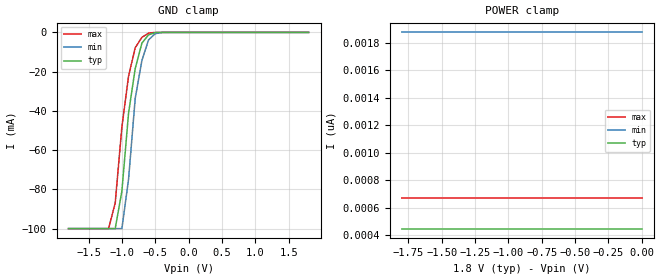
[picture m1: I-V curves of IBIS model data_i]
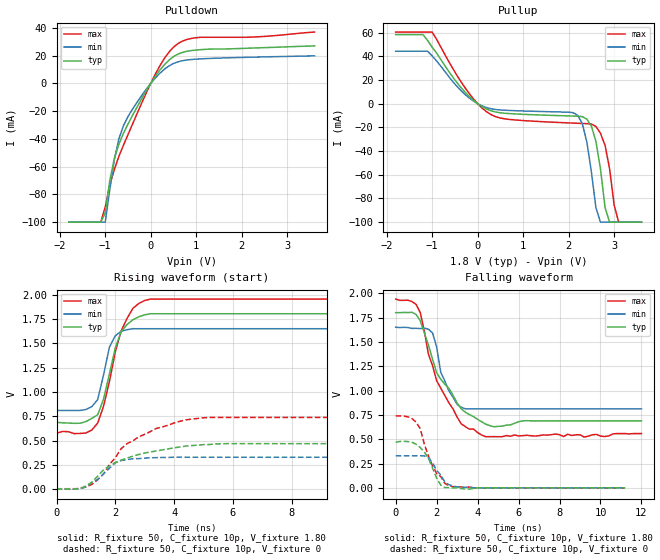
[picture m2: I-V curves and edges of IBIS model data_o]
|   ON Semiconductor Corporation
|   IBIS Model of NL27WZ16DF
|   Dual Buffer
|   SC-88A/ SOT-353/ SC-70 (DF) Package Type
[IBIS Ver]   3.2
[Comment Char]   |_char
[File name]   nl27wz16df_165.ibs
[File Rev]   1.0
[Date]   11/27/02
[Source]
From lab measurements at ON Semiconductor
[Notes]
Created by Duane Mattheisen
Modeling Support Engineer
| This model represents the NL27WZ16DF where 1.65 <= Vcc =< 1.95
[Disclaimer]
ON Semiconductor Corporation hereby grants
the user of this IBIS model a license to use this IBIS
model under the following terms. This license in non-exclusive
and non-transferable. Before using this IBIS model. After reading
the terms and conditions of this license, the user either must accept
these terms, or the IBIS model should be returned to ON within 30 days.
     The user is hereby granted a license to use the
IBIS model. This shall not be construed as a right to sell, or otherwise
profit either by leasing or renting this software.
     The user may modify the IBIS model to suit his specific applications
but rights to derivative works and such modifications shall belong to
ON Semiconductor.
     This IBIS model is provided on an "as is" basis. ON Semiconductor
makes absolutely no warranty with respect to the information contained
herein. By use of this IBIS model, the user assumes full risk as to the
quality and suitability of the model to his particular use, and by using
this model assumes the entire risk. Under all circumstances the user shall
not hold ON Semiconductor liable in any way for the results obtained. ON
Semiconductor reserves the right to make to improve the model for reliability,
function, or design. ON Semiconductor does not convey any license under patent
rights or any other intellectual property rights, including those of third
parties.
ON Semiconductor is not obligated to provide maintenance or support
for the licensed IBIS model.
Cont ON at ATTN:LOGIC APPLICATIONS/IBIS MODEL.
5005 E. McDowell Road, Phoenix AZ 85008
[Copyright]
(c) 2002 ON Semiconductor Corp.
[Component]   NL27WZ16DF
Si_location Pin
Timing_location Pin
[Manufacturer]   ON Semiconductor Corp.
[Package]
|   typ   min   max
R_pkg   0.025   0.021   0.029
L_pkg   1.529nH   1.312nH   1.906nH
C_pkg   0.156pF   0.110pF   0.240pF
[Pin] signal_name   model_name   R_pin   L_pin   C_pin
1   INA1   data_i   0.021   1.511nH   0.144pF
2   GND   GND   0.029   1.906nH   0.240pF
3   INA2   data_i   0.023   1.312nH   0.138pF
4   OUTY2   data_o   0.026   1.541nH   0.150pF
5   VCC   POWER   0.025   1.374nH   0.110pF
6   OUTY1   data_o   0.026   1.541nH   0.150pF
| Models and submodels in the file (2): data_i (Input), data_o (Output)
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[Model]   data_i
Model_type Input
Vinh=1.35
Vinl=0.45
| variable   typ   min   max
C_comp   4.1pf   4.1pf   4.1pf
[Temperature Range] 25   85   -40
[Voltage Range]   1.80   1.65   1.95
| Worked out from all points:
|   GND clamp passes 1 mA (typ) near -0.58 V on its own axis
[GND Clamp]
-1.8V     -99.99mA   -100mA     -100mA
-1.2V     -99.99mA   -100mA     -100mA
-1.1V     -99.99mA   -100mA     -86.96mA
-1V       -80.93mA   -100mA     -48.21mA
-900mV    -41.16mA   -74.87mA   -22.31mA
-800mV    -18.41mA   -33.63mA   -7.807mA
-700mV    -5.487mA   -14.32mA   -2.528mA
-600mV    -1.259mA   -3.81mA    -388uA
-500mV    -134.1uA   -633.5uA   -10.12uA
-400mV    -4.415uA   -49.92uA   -94.34nA
1.8V      445.8pA    1.877nA    670.6pA
[POWER Clamp]
-1.8V     445.8pA    1.877nA    670.6pA
-1.7V     445.8pA    1.877nA    670.6pA
-1.6V     445.8pA    1.877nA    670.6pA
0V        445.8pA    1.877nA    670.6pA
[Model]   data_o
Model_type Output
Polarity Non-Inverting
Vref=0
Vmeas=0.90
Cref=15p
Rref=1M
| variable   typ   min   max
C_comp   5.2pf   5.2pf   5.2pf
[Temperature Range] 25   85   -40
[Voltage Range]   1.80   1.65   1.95
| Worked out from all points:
|   slope of the pulldown table from 0 to 0.27 V, typ, clamps not added: 22 ohm
|   slope of the pullup table from 0 to 0.27 V, typ, clamps not added: 47.8 ohm
|   falling waveform, R_fixture 50, C_fixture 10p, V_fixture 1.80: 20-80 % time 1.48ns typ, 696ps min, 1.38ns max; typ from 1.8 V to 0.69 V
|   falling waveform, R_fixture 50, C_fixture 10p, V_fixture 0: 20-80 % time 650ps typ, 614ps min, 778ps max; typ from 0.47 V to 0.001 V
|   rising waveform, R_fixture 50, C_fixture 10p, V_fixture 1.80: 20-80 % time 571ps typ, 391ps min, 682ps max; typ from 0.69 V to 1.8 V
|   rising waveform, R_fixture 50, C_fixture 10p, V_fixture 0: 20-80 % time 1.77ns typ, 784ps min, 1.6ns max; typ from 0.004 V to 0.47 V
[Pullup]
-1.8V     58.21mA    44.21mA    60.38mA
-1V       47.67mA    40.31mA    60.38mA
300mV     -6.091mA   -4.337mA   -9.336mA
2.2V      -10.58mA   -9.906mA   -16.56mA
2.4V      -13.08mA   -32.35mA   -16.87mA
2.5V      -18.97mA   -57.55mA   -17.16mA
2.6V      -31.93mA   -87.98mA   -19.25mA
2.7V      -55.16mA   -100mA     -25.04mA
2.8V      -87.68mA   -100mA     -35.2mA
2.9V      -100mA     -100mA     -54.97mA
3.1V      -100mA     -100mA     -100mA
3.6V      -100mA     -100mA     -100mA
[Pulldown]
-1.8V     -100mA     -100mA     -100mA
-1.1V     -100mA     -100mA     -100mA
-1V       -93.42mA   -100mA     -89.11mA
-900mV    -70.15mA   -76.62mA   -73.36mA
-800mV    -54.1mA    -54.99mA   -62.08mA
-700mV    -43.81mA   -39.93mA   -52.66mA
-600mV    -35.95mA   -30.48mA   -44.56mA
100mV     4.988mA    3.846mA    6.56mA
400mV     16.73mA    12.54mA    22.49mA
600mV     21.11mA    15.55mA    28.69mA
1.1V      24.28mA    17.65mA    33.2mA
3.6V      27mA       19.83mA    36.94mA
[Ramp]
dV/dt_r   0.289E+0/1.77E-9   0.132E+0/1.36E-9   0.365E+0/1.61E-9
dV/dt_f   0.669E+0/1.42E-9   0.508E+0/1.82E-9   0.831E+0/1.38E-9
[Falling Waveform]
R_fixture=50
C_fixture=10p
V_fixture=1.80
V_fixture_min=1.65
V_fixture_max=1.95
|Time   Typ   Min   Max
|SECONDS   VOLTS   VOLTS   VOLTS
0s        1.801V     1.651V     1.941V
1ns       1.782V     1.641V     1.885V
1.2ns     1.718V     1.637V     1.801V
1.6ns     1.468V     1.631V     1.373V
1.8ns     1.323V     1.593V     1.257V
2.2ns     1.117V     1.189V     1.026V
2.6ns     1.023V     996.3mV    874mV
3.6ns     754.5mV    813.3mV    604.2mV
4.8ns     628.6mV    813.3mV    527.9mV
12ns      690.2mV    813.3mV    559mV
[Falling Waveform]
R_fixture=50
C_fixture=10p
V_fixture=0
|Time   Typ   Min   Max
|SECONDS   VOLTS   VOLTS   VOLTS
0s        470.5mV    330.8mV    740.3mV
600ps     477.1mV    330.8mV    731mV
1ns       449.2mV    330.8mV    675.9mV
1.2ns     415.6mV    331.9mV    608.6mV
1.4ns     369.3mV    329.3mV    449.6mV
1.8ns     204.5mV    257.6mV    229mV
2.2ns     29.23mV    133mV      117.6mV
2.6ns     3.312mV    33.6mV     23.14mV
4ns       1.086mV    1.187mV    1.076mV
11.2ns    1.086mV    1.172mV    1.076mV
[Rising Waveform]
R_fixture=50
C_fixture=10p
V_fixture=1.80
V_fixture_min=1.65
V_fixture_max=1.95
|Time   Typ   Min   Max
|SECONDS   VOLTS   VOLTS   VOLTS
0s        690mV      811.4mV    577.6mV
1ns       696.8mV    821.4mV    579.7mV
1.4ns     767.4mV    922.2mV    681.5mV
1.6ns     927.1mV    1.176V     854.4mV
1.8ns     1.186V     1.462V     1.11V
2ns       1.453V     1.578V     1.414V
2.2ns     1.621V     1.625V     1.628V
2.4ns     1.693V     1.641V     1.756V
3ns       1.793V     1.651V     1.94V
12.4ns    1.804V     1.651V     1.955V
[Rising Waveform]
R_fixture=50
C_fixture=10p
V_fixture=0
|Time   Typ   Min   Max
|SECONDS   VOLTS   VOLTS   VOLTS
0s        3.859mV    3.229mV    7.818mV
800ps     10.59mV    7.255mV    10.18mV
1.2ns     73.61mV    71.06mV    51.33mV
1.6ns     201.8mV    160.2mV    158.6mV
2ns       277.5mV    272.8mV    325.6mV
2.4ns     322.9mV    307.2mV    470.7mV
3.4ns     395.2mV    326.8mV    627.3mV
4.4ns     446.3mV    330.8mV    714.9mV
5.2ns     461.6mV    330.8mV    739.2mV
11.6ns    470.2mV    330.8mV    739.2mV
